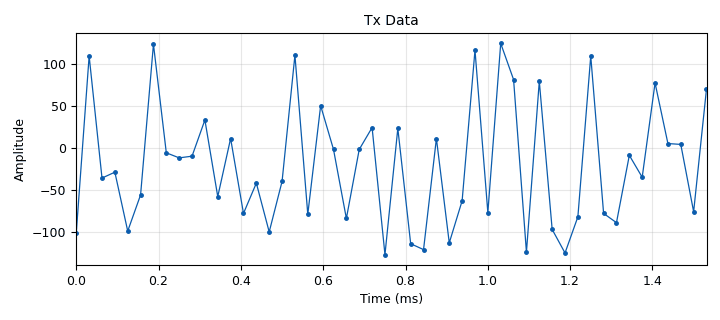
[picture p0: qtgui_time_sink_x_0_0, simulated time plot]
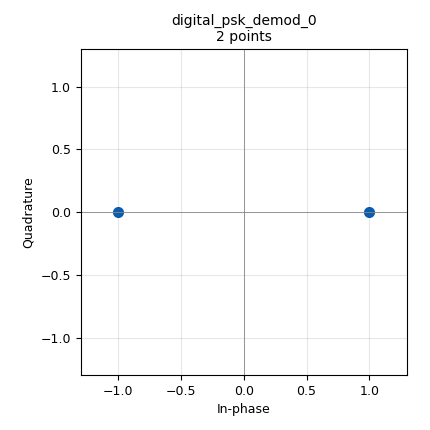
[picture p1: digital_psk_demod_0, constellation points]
options:
  parameters:
    generate_options: qt_gui
    id: bpsk
    output_language: python
  states: {}

blocks:
- name: npoints
  id: variable
  parameters:
    value: '50'
  states: {}
- name: samp_rate
  id: variable
  parameters:
    value: '32000'
  states: {}
- name: InputVector
  id: parameter
  parameters:
    value: np.random.randint(1,255,50)
  states: {}
- name: Packet_Decoder_0
  id: Packet_Decoder
  parameters:
    data: InputVector
    dataLength: len(InputVector)
    destAddr: '32'
    preamble: preamble
    printAfterNFrames: '10'
    sourceAddr: '16'
  states: {}
- name: Packet_Encoder_0
  id: Packet_Encoder
  parameters:
    dataLength: len(InputVector)
    destAddr: '0x20'
    preamble: preamble
    sourceAddr: '0x10'
  states: {}
- name: blocks_char_to_float_0
  id: blocks_char_to_float
  parameters:
    scale: '1'
  states: {}
- name: blocks_char_to_float_0_1
  id: blocks_char_to_float
  parameters:
    scale: '1'
  states: {}
- name: blocks_throttle_0
  id: blocks_throttle
  parameters:
    samples_per_second: samp_rate
    type: complex
  states: {}
- name: blocks_vector_source_x_0_0
  id: blocks_vector_source_x
  parameters:
    repeat: 'True'
    type: byte
    vector: InputVector
  states: {}
- name: digital_psk_demod_0
  id: digital_psk_demod
  parameters:
    constellation_points: '2'
    differential: 'True'
    excess_bw: '0.35'
    freq_bw: 6.28/100.0
    mod_code: '"gray"'
    phase_bw: 6.28/100.0
    samples_per_symbol: sps
    timing_bw: 6.28/100.0
  states: {}
- name: digital_psk_mod_0
  id: digital_psk_mod
  parameters:
    constellation_points: '2'
    differential: 'True'
    excess_bw: '0.35'
    mod_code: '"gray"'
    samples_per_symbol: sps
  states: {}
- name: import_0
  id: import
  parameters:
    imports: import numpy as np
  states: {}
- name: preamble
  id: parameter
  parameters:
    value: (0x7E,0x7E)
  states: {}
- name: qtgui_time_sink_x_0_0
  id: qtgui_time_sink_x
  parameters:
    autoscale: 'True'
    label1: ''
    marker1: '0'
    name: '"Tx Data"'
    size: npoints
    srate: samp_rate
    type: float
  states: {}
- name: qtgui_time_sink_x_0_0_0
  id: qtgui_time_sink_x
  parameters:
    autoscale: 'True'
    label1: ''
    marker1: '0'
    name: '"Rx Data"'
    size: npoints
    srate: samp_rate
    type: float
  states: {}
- name: sps
  id: parameter
  parameters:
    label: Samples per symbol
    value: '8'
  states: {}
- name: virtual_sink_0
  id: virtual_sink
  parameters:
    stream_id: USRP
  states: {}
- name: virtual_source_0
  id: virtual_source
  parameters:
    stream_id: USRP
  states: {}

connections:
- [Packet_Decoder_0, '0', blocks_char_to_float_0, '0']
- [Packet_Encoder_0, '0', digital_psk_mod_0, '0']
- [blocks_char_to_float_0, '0', qtgui_time_sink_x_0_0_0, '0']
- [blocks_char_to_float_0_1, '0', qtgui_time_sink_x_0_0, '0']
- [blocks_throttle_0, '0', virtual_sink_0, '0']
- [blocks_vector_source_x_0_0, '0', Packet_Encoder_0, '0']
- [blocks_vector_source_x_0_0, '0', blocks_char_to_float_0_1, '0']
- [digital_psk_demod_0, '0', Packet_Decoder_0, '0']
- [digital_psk_mod_0, '0', blocks_throttle_0, '0']
- [virtual_source_0, '0', digital_psk_demod_0, '0']

metadata:
  file_format: 1
